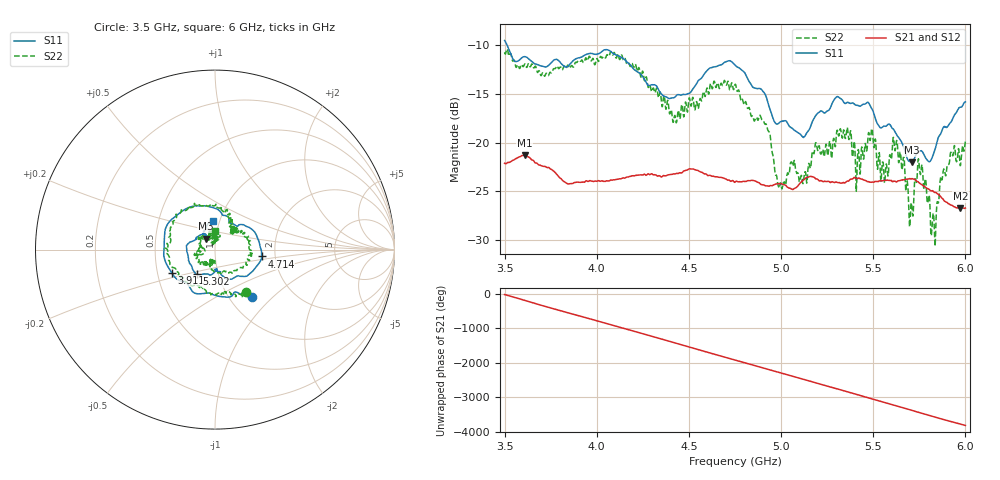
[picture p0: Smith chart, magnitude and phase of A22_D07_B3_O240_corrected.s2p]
! Created with skrf 1.9.0 (http://scikit-rf.org).
# Hz S RI R 50.0
!freq ReS11 ImS11 ReS21 ImS21 ReS12 ImS12 ReS22 ImS22
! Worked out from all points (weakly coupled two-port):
!   1601 points, 3.5 GHz to 6 GHz, reference 50 ohm
!   highest |S21| = -21.31 dB at 3.609 GHz (marker M1); lowest = -26.8 dB at 5.973 GHz (marker M2)
!   lowest |S11| = -22.0 dB at 5.709 GHz (marker M3), VSWR 1.17, Z = 44.8 + j5.42 ohm
!   |S11| at or under -10 dB: 3.514 GHz to end of sweep
!   |S22| runs from -30.6 to -10.4 dB; largest |S21 - S12| = 0.00097
!   S11 on the Smith chart (normalised r, x): 3.5 GHz: 1.26, -0.75; 3.911 GHz: 0.59, -0.17; 4.714 GHz: 1.70, -0.14; 5.302 GHz: 0.79, -0.22; 6 GHz: 0.93, +0.31
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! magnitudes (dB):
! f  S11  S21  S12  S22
! 3.5 GHz  -9.5  -22.1  -22.1  -10.7
! 3.609 GHz  -11.2  -21.3  -21.3  -11.9
! 3.911 GHz  -11.3  -24.1  -24.1  -11.7
! 3.917 GHz  -11.2  -24.1  -24.1  -11.5
! 4.086 GHz  -10.8  -23.8  -23.8  -11.0
! 4.334 GHz  -14.5  -23.4  -23.4  -15.3
! 4.423 GHz  -15.3  -23.2  -23.2  -17.2
! 4.714 GHz  -11.6  -23.9  -23.9  -13.8
! 4.75 GHz  -12.0  -24.1  -24.0  -14.0
! 4.927 GHz  -15.7  -24.4  -24.4  -18.6
! 4.994 GHz  -17.9  -24.2  -24.1  -24.4
! 5.167 GHz  -18.0  -23.5  -23.5  -21.3
! 5.302 GHz  -15.3  -24.1  -24.1  -18.9
! 5.486 GHz  -16.3  -24.1  -24.0  -19.5
! 5.584 GHz  -18.1  -23.9  -23.9  -22.5
! 5.62 GHz  -18.9  -24.0  -24.0  -20.7
! 5.709 GHz  -22.0  -23.7  -23.7  -26.6
! 5.755 GHz  -20.9  -24.2  -24.2  -23.2
! 5.827 GHz  -21.2  -25.0  -25.0  -27.3
! 5.875 GHz  -18.7  -25.7  -25.7  -23.6
! 5.973 GHz  -16.4  -26.8  -26.7  -22.4
! 6 GHz  -15.8  -26.7  -26.7  -19.8
